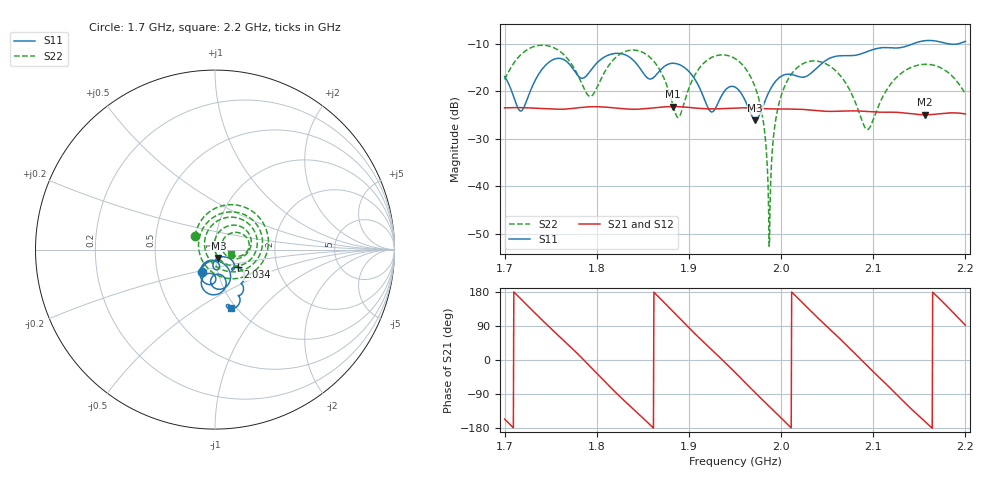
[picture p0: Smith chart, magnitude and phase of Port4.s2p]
# Hz S RI R 50
! CMT, CMT808U, 21440046, 21.4.3/4
! Date: 11/20/2025 11:29:14 PM
! Data: Format (Calibration Info)
! Freq	S11:Re/Im(F2)	S41:Re/Im(F2)	S14:Re/Im(F2)	S44:Re/Im(F2)
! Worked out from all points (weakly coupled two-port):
!   1001 points, 1.7 GHz to 2.2 GHz, reference 50 ohm
!   highest |S21| = -23.20 dB at 1.883 GHz (marker M1); lowest = -24.9 dB at 2.156 GHz (marker M2)
!   lowest |S11| = -26.1 dB at 1.972 GHz (marker M3), VSWR 1.10, Z = 51.7 - j4.76 ohm
!   |S11| at or under -10 dB: start of sweep to 2.143 GHz; 2.182352 GHz to 2.191158 GHz (8.806 MHz wide, 0.403 % of centre)
!   |S22| runs from -52.6 to -10.3 dB; largest |S21 - S12| = 0.0015
!   S11 on the Smith chart (normalised r, x): 1.7 GHz: 0.84, -0.21; 2.034 GHz: 1.26, -0.26; 2.2 GHz: 0.95, -0.69
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1.7e9  -0.074 -0.1229  -0.0612 -0.0273  -0.062 -0.0264  -0.1101 0.0759
1.718e9  0.00173 -0.0622  -0.0634 0.0228  -0.0633 0.0241  0.0352 0.243
1.7425e9  0.0867 -0.1576  -0.0128 0.0646  -0.0117 0.0651  0.2846 0.1137
1.7835e9  0.00868 -0.1374  0.0675 0.00719  0.068 0.00598  -0.0213 -0.1208
1.7945e9  0.0564 -0.1622  0.0642 -0.0252  0.064 -0.0265  -0.0896 -0.00383
1.821e9  -0.00279 -0.2516  0.00374 -0.0666  0.00245 -0.067  0.093 0.2101
1.867e9  0.0045 -0.1594  -0.0662 0.0155  -0.0662 0.0169  0.1291 -0.1217
1.883e9  -0.0387 -0.194  -0.0416 0.0553  -0.0407 0.0563  -0.0235 -0.0656
1.924e9  -0.0132 -0.0595  0.0574 0.0314  0.0582 0.0303  0.1535 0.1663
1.95e9  0.00114 -0.111  0.0564 -0.0358  0.0558 -0.0371  0.2204 -0.0249
1.972e9  0.0191 -0.0459  0.00427 -0.0664  0.00283 -0.0667  0.0709 -0.0841
1.981e9  0.0595 -0.0414  -0.0203 -0.0626  -0.0217 -0.0623  0.0171 -0.0427
1.9875e9  0.0864 -0.0531  -0.0359 -0.0547  -0.0372 -0.0541  -0.0021 0.00172
1.993e9  0.1022 -0.0702  -0.0471 -0.0451  -0.0482 -0.0442  -0.00299 0.0419
2.0005e9  0.109 -0.0956  -0.0586 -0.0286  -0.0594 -0.0273  0.0171 0.091
2.0335e9  0.1247 -0.0978  -0.0373 0.0512  -0.0362 0.0521  0.1911 0.085
2.0345e9  0.128 -0.0988  -0.0351 0.0526  -0.0339 0.0534  0.1936 0.0799
2.0655e9  0.1529 -0.182  0.038 0.0489  0.039 0.0482  0.133 -0.0487
2.093e9  0.1579 -0.209  0.0595 -0.0152  0.0593 -0.0164  0.0393 0.0054
2.117e9  0.1343 -0.2556  0.0199 -0.057  0.0187 -0.0575  0.0742 0.0849
2.1565e9  0.1157 -0.3224  -0.0543 -0.0164  -0.0546 -0.0152  0.1886 0.0408
2.2e9  0.0882 -0.3251  -0.00178 0.0578  -0.000574 0.0578  0.0905 -0.0264
